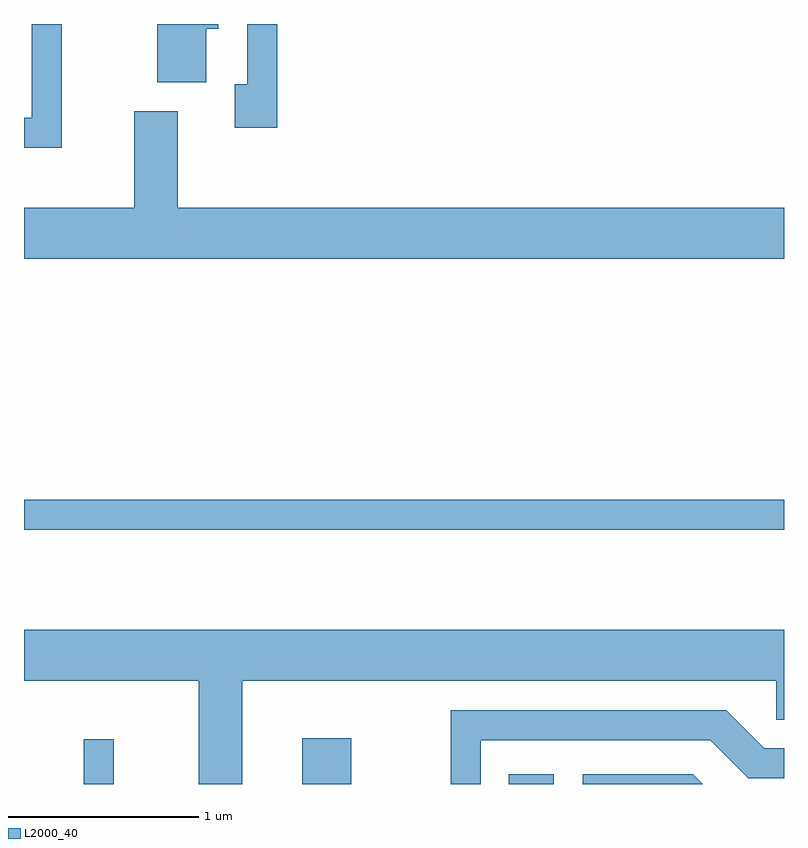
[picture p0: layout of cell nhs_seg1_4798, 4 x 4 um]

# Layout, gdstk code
import gdstk
lib = gdstk.Library(unit=1e-6, precision=1e-09)
def R(c, l, rs):  # rectangles x0, y0, x1, y1
    for r in rs: c.add(gdstk.rectangle(r[:2], r[2:], *l))
def P(c, l, *ps):  # polygons
    for p in ps: c.add(gdstk.Polygon(p, *l))
L2000_40 = (2000, 40)

nhs_seg1_4798 = lib.new_cell('nhs_seg1_4798')
R(nhs_seg1_4798, L2000_40, [(329.926,885.712,330.084,885.948), (331.076,885.712,331.334,885.954), (332.163,885.712,332.399,885.764), (329.611,887.051,333.611,887.209)])
P(nhs_seg1_4798, L2000_40, [(330.944,889.712),(330.786,889.712),(330.786,889.394),(330.721,889.394),(330.721,889.166),(330.944,889.166)],
  [(330.569,889.686),(330.634,889.686),(330.634,889.712),(330.311,889.712),(330.311,889.406),(330.569,889.406)],
  [(329.809,889.712),(329.651,889.712),(329.651,889.219),(329.611,889.219),(329.611,889.061),(329.809,889.061)],
  [(333.611,888.744),(330.419,888.744),(330.419,889.254),(330.191,889.254),(330.191,888.744),(329.611,888.744),(329.611,888.476),(333.611,888.476)],
  [(330.759,886.256),(333.571,886.256),(333.571,886.051),(333.611,886.051),(333.611,886.524),(329.611,886.524),(329.611,886.256),(330.531,886.256),(330.531,885.712),(330.759,885.712)],
  [(332.014,885.941),(333.224,885.941),(333.424,885.741),(333.611,885.741),(333.611,885.899),(333.507,885.899),(333.307,886.099),(331.856,886.099),(331.856,885.712),(332.014,885.712)],
  [(333.132,885.764),(332.551,885.764),(332.551,885.712),(333.184,885.712)])

lib.write_gds('nhs_seg1_4798.gds')
